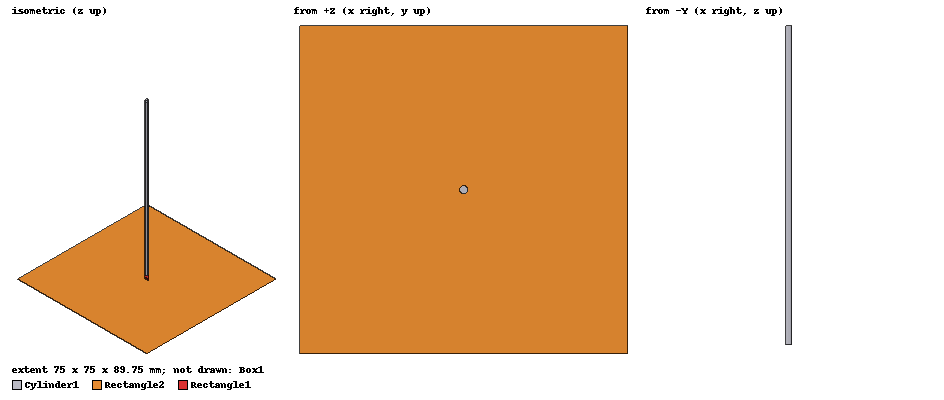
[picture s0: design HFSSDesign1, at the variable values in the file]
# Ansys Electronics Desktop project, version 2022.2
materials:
  vacuum: permittivity=1
  pec: conductivity=1e+30
  air: permittivity=1.0006 permeability=1.0000004

design HFSSDesign1 (HFSS, DrivenModal, model units mm)
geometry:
  Cylinder1 [pec] = cylinder(axis=Z, base_centre=(0mm, 0mm, 2.5mm), radius=0.8875mm, height=87.25mm)
  Rectangle1 [pec] = rectangle(corner=(0mm, -0.9375mm, 3.75mm), y_size=1.9375mm, z_size=-3.75mm)
  Rectangle2 [pec] = rectangle(corner=(-37.5mm, -37.5mm, 0mm), x_size=75mm, y_size=75mm)
  Box1 [air] = box(corner=(-37.5mm, -37.5mm, -20mm), size=(75mm, 75mm, 130mm))
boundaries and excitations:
  Rad1: Radiation Objects=Box1
  PerfE1: Perfect E Objects=Rectangle2
  1: Lumped Port Objects=Rectangle1 Modes{Mode1{IntLine{(0, 0.03125, 0) -> (0, 0, 3.75)} CharImp=Zpi RenormImp=50ohm}} Impedance=50ohm
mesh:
  initial mesh: GlobalSurfApproximation{CurvedSurfaceApproxChoice=UseSlider SliderMeshSettings=1}
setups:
  Setup1: HfssDriven Frequency=800MHz MaxDeltaS=0.02 MaximumPasses=10 MinimumPasses=1 MinimumConvergedPasses=1 PercentRefinement=30 BasisOrder=1 PortAccuracy=2 DrivenSolverType="Direct Solver"
    sweep Sweep: 600MHz to 1000MHz step 0.1MHz; Type=Fast SaveFields
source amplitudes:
  1:1: 1W 0deg
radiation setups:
  Infinite Sphere1: Infinite Sphere Theta=0deg..180deg step 2deg Phi=-180deg..180deg step 2deg
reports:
  S Parameter Plot 1: dB(S(1,1)) vs Freq on Setup1 : Sweep
  S Parameter Plot 2: dB(S(1,1)) vs Freq on Setup1 : Sweep
  Gain Plot 1: dB(GainTotal) vs Phi, Theta on Setup1 : LastAdaptive, Infinite Sphere1 [Freq=0.8GHz]
